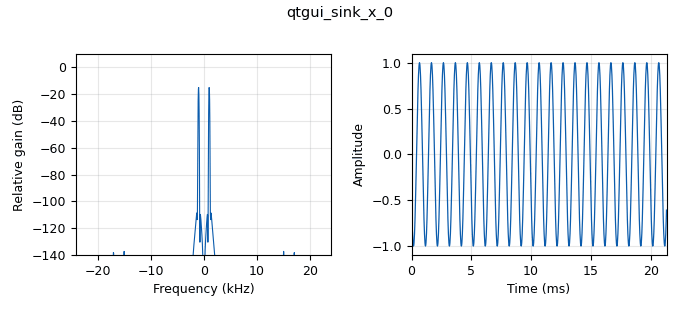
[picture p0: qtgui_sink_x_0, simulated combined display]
options:
  parameters:
    generate_options: qt_gui
    id: SoundSine
    output_language: python
    title: SoundSine
  states: {}

blocks:
- name: decimation
  id: variable
  parameters:
    value: '1'
  states: {}
- name: samp_rate
  id: variable
  parameters:
    value: '48000'
  states: {}
- name: volume
  id: variable_qtgui_range
  parameters:
    label: volume
    outputmsgname: value
    showports: 'False'
    start: '0'
    step: '0.1'
    stop: '1'
    value: '1'
    widget: slider
  states: {}
- name: analog_sig_source_x_0
  id: analog_sig_source_x
  parameters:
    amp: '1'
    freq: '1000'
    offset: '0'
    phase: '0'
    samp_rate: samp_rate
    type: float
    waveform: analog.GR_COS_WAVE
  states: {}
- name: audio_sink_0
  id: audio_sink
  parameters:
    samp_rate: '48000'
  states: {}
- name: blocks_multiply_const_vxx_0
  id: blocks_multiply_const_vxx
  parameters:
    const: volume
    type: float
  states: {}
- name: qtgui_sink_x_0
  id: qtgui_sink_x
  parameters:
    bw: samp_rate
    fc: '0'
    fftsize: '1024'
    type: float
  states: {}

connections:
- [analog_sig_source_x_0, '0', blocks_multiply_const_vxx_0, '0']
- [blocks_multiply_const_vxx_0, '0', audio_sink_0, '0']
- [blocks_multiply_const_vxx_0, '0', qtgui_sink_x_0, '0']

metadata:
  file_format: 1
  grc_version: 3.10.3.0
